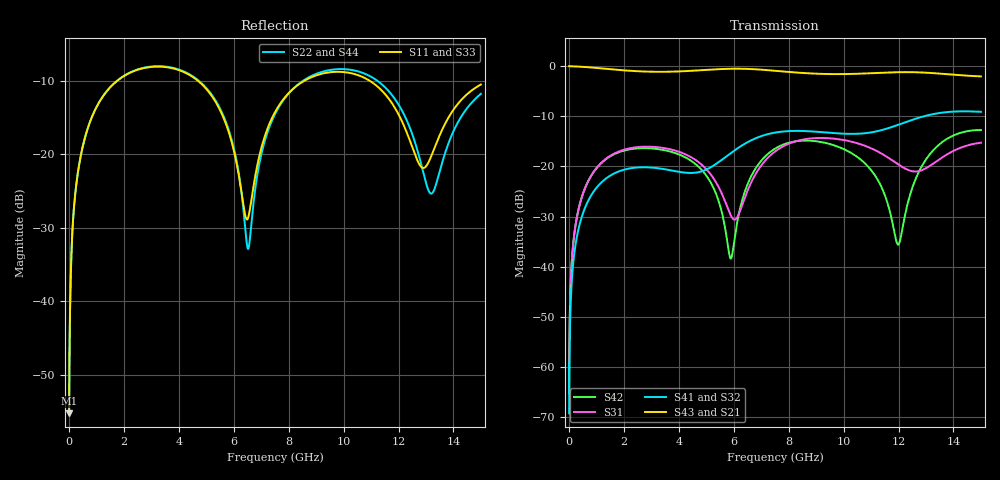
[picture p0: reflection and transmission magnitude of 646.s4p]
! Created with skrf 1.8.0 (http://scikit-rf.org).
# GHz S RI R 50.0
!freq ReS11 ImS11 ReS12 ImS12 ReS13 ImS13
! ReS14 ImS14
! ReS21 ImS21 ReS22 ImS22 ReS23 ImS23
! ReS24 ImS24
! ReS31 ImS31 ReS32 ImS32 ReS33 ImS33
! ReS34 ImS34
! ReS41 ImS41 ReS42 ImS42 ReS43 ImS43
! ReS44 ImS44
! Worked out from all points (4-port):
!   2499 points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, 5 MHz to 15 GHz, reference 50 ohm
!   strongest paths, dB at 5 MHz, 3.476 GHz, 7.19 GHz, 11.1 GHz, 15 GHz:
!     S43: 0.0, -1.1, -0.8, -1.4, -2.1
!     S21: 0.0, -1.1, -0.8, -1.4, -2.1
!     S41: -69.2, -20.5, -13.6, -13.1, -9.1
!     S32: -69.2, -20.5, -13.6, -13.1, -9.1
!     S31: -65.2, -16.3, -18.6, -16.6, -15.3
!     S42: -65.2, -16.8, -17.8, -21.4, -12.7
!   lowest |S11| = -55.2 dB at 5 MHz (marker M1), VSWR 1.00, Z = 50.1 + j0.105 ohm
!   |S11| at or under -10 dB: start of sweep to 1.769 GHz; 4.684 GHz to 8.585 GHz (3.9 GHz wide, 58.8 % of centre); 10.94 GHz to end of sweep
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0.005  0.00138 0.00105  0.9986 -0.00269  6.86e-05 0.000544  -6.67e-05 -0.000341
       0.9986 -0.00269  0.00138 0.00105  -6.67e-05 -0.000341  6.85e-05 0.000544
       6.86e-05 0.000544  -6.67e-05 -0.000341  0.00138 0.00105  0.9986 -0.00269
       -6.67e-05 -0.000341  6.85e-05 0.000544  0.9986 -0.00269  0.00138 0.00105
0.3626511  0.0225 0.0802  0.969 -0.1942  0.0107 0.0375  -0.00866 -0.0233
           0.969 -0.1942  0.0226 0.0802  -0.00866 -0.0233  0.0101 0.0376
           0.0107 0.0375  -0.00866 -0.0233  0.0225 0.0802  0.969 -0.1942
           -0.00866 -0.0233  0.0101 0.0376  0.969 -0.1942  0.0226 0.0802
1.619545  0.2305 0.1908  0.6287 -0.6793  0.1157 0.0662  -0.0824 -0.0188
          0.6287 -0.6793  0.2327 0.1896  -0.0824 -0.0188  0.1085 0.0741
          0.1157 0.0662  -0.0824 -0.0188  0.2305 0.1908  0.6288 -0.6792
          -0.0824 -0.0188  0.1085 0.0741  0.6288 -0.6792  0.2327 0.1896
6.515215  0.0363 0.00467  -0.9363 -0.0506  -0.0122 0.0572  -0.0049 0.1753
          -0.9363 -0.0506  0.0226 -0.00283  -0.0045 0.1752  0.0223 0.064
          -0.0122 0.0572  -0.0045 0.1752  0.038 0.00487  -0.9363 -0.0508
          -0.0049 0.1753  0.0223 0.064  -0.9363 -0.0508  0.0208 -0.00271
10.52313  0.3335 -0.0843  0.1705 0.8211  0.0898 -0.1441  0.1904 -0.093
          0.1705 0.8211  0.3498 -0.1047  0.1901 -0.0929  0.1086 -0.058
          0.0898 -0.1441  0.1901 -0.0929  0.3317 -0.0855  0.17 0.8219
          0.1904 -0.093  0.1086 -0.058  0.17 0.8219  0.3485 -0.1022
11.9925  0.1437 -0.1207  0.681 0.54  -0.0731 -0.0752  0.1553 -0.2091
         0.681 0.54  0.1427 -0.1655  0.155 -0.2092  0.0158 0.00516
         -0.0731 -0.0752  0.155 -0.2092  0.1429 -0.1192  0.681 0.5407
         0.1553 -0.2091  0.0158 0.00516  0.681 0.5407  0.1412 -0.1639
15  0.2752 0.1121  0.5618 -0.553  0.1656 0.0482  -0.2875 -0.2004
    0.5618 -0.553  0.227 0.12  -0.2867 -0.1992  0.2298 0.0217
    0.1656 0.0482  -0.2867 -0.1992  0.2774 0.1058  0.5641 -0.5517
    -0.2875 -0.2004  0.2298 0.0217  0.5641 -0.5517  0.2196 0.1246
